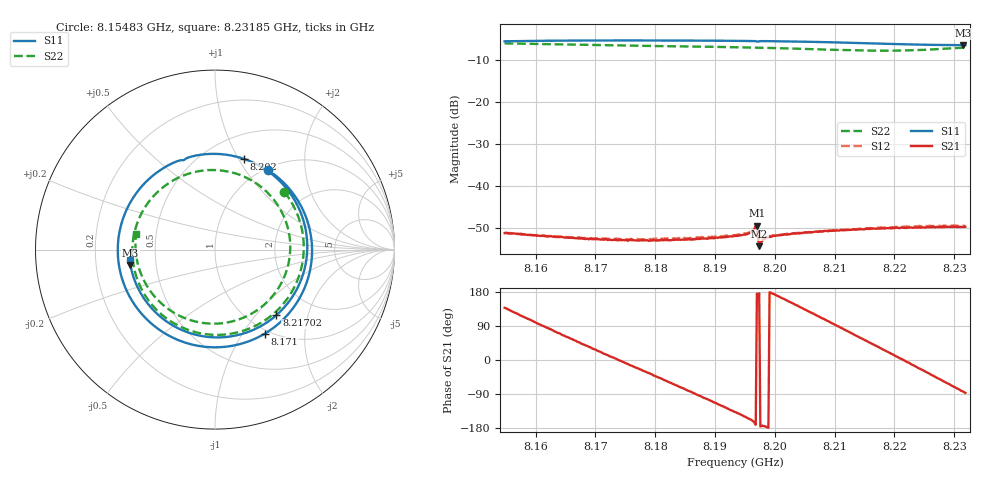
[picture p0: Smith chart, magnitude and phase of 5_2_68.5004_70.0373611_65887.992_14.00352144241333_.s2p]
#  HZ  S  RI  R  50.00
! Rohde & Schwarz Vector Network Analyzer
! Rohde-Schwarz,ZNB20-2Port,1311601062101988,3.16
! Created: UTC 3/20/2024, 5:03:56 PM
! freq[Hz]  re:S11  im:S11  re:S21  im:S21  re:S12  im:S12  re:S22  im:S22
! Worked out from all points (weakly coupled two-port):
!   401 points, 8.15483 GHz to 8.23185 GHz, reference 50 ohm
!   highest |S21| = -49.46 dB at 8.197 GHz (marker M1); lowest = -54.4 dB at 8.19738 GHz (marker M2)
!   lowest |S11| = -6.4 dB at 8.23147 GHz (marker M3), VSWR 2.84, Z = 17.7 - j3.97 ohm
!   |S11| at or under -10 dB: nowhere
!   |S22| runs from -7.7 to -6.0 dB; largest |S21 - S12| = 0.00024
!   S11 on the Smith chart (normalised r, x): 8.15483 GHz: 1.04, +1.28; 8.171 GHz: 0.95, -1.26; 8.202 GHz: 0.75, +1.06; 8.21702 GHz: 1.33, -1.29; 8.23185 GHz: 0.35, -0.05
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8.154826e9  0.2954 0.4424  -0.00203 0.00184  -0.00203 0.00185  0.3866 0.321
8.161566e9  0.5348 0.0743  0.000117 0.00254  8.93e-05 0.00253  0.4881 -0.0676
8.167728e9  0.4401 -0.319  0.00175 0.00161  0.00173 0.00168  0.3053 -0.3745
8.171001e9  0.278 -0.468  0.00217 0.000786  0.00222 0.000801  0.1357 -0.4587
8.175815e9  -0.0367 -0.5432  0.00221 -0.000539  0.00227 -0.000533  -0.136 -0.4519
8.180629e9  -0.3405 -0.4237  0.00154 -0.00162  0.00161 -0.00174  -0.3571 -0.3
8.186984e9  -0.5403 -0.0433  -6.06e-05 -0.00235  -7.78e-05 -0.00245  -0.4592 0.0303
8.190065e9  -0.5136 0.1691  -0.000949 -0.00223  -0.00105 -0.00228  -0.4133 0.1945
8.193338e9  -0.3966 0.365  -0.00188 -0.00172  -0.00196 -0.00169  -0.3017 0.3372
8.196612e9  -0.2056 0.494  -0.00299 -0.000778  -0.00308 -0.000665  -0.1415 0.4246
8.196997e9  -0.178 0.498  -0.00335 0.000277  -0.00343 0.000387  -0.1205 0.4303
8.197382e9  -0.1613 0.5077  -0.00191 0.00013  -0.00195 0.00018  -0.0996 0.4351
8.197767e9  -0.134 0.5177  -0.00215 -0.000227  -0.0022 -0.000169  -0.0781 0.4389
8.202003e9  0.1626 0.5051  -0.00244 0.00101  -0.00244 0.00114  0.1584 0.4081
8.20624e9  0.404 0.3337  -0.00155 0.00235  -0.00149 0.00239  0.346 0.2532
8.211631e9  0.5124 -0.0263  0.00051 0.00291  0.000587 0.00293  0.4135 -0.0562
8.217023e9  0.3426 -0.3649  0.00249 0.00183  0.0026 0.00182  0.2372 -0.3357
8.219141e9  0.2138 -0.4471  0.00296 0.00102  0.00306 0.000931  0.1135 -0.3954
8.224726e9  -0.1795 -0.4503  0.00288 -0.00144  0.00286 -0.00165  -0.2459 -0.3411
8.228192e9  -0.3762 -0.2991  0.0018 -0.00269  0.00175 -0.00288  -0.4009 -0.1617
8.231465e9  -0.4711 -0.0862  0.000377 -0.00324  0.000181 -0.00335  -0.4422 0.0617
8.23185e9  -0.4754 -0.059  0.000187 -0.00326  2.35e-06 -0.00334  -0.4394 0.0886
